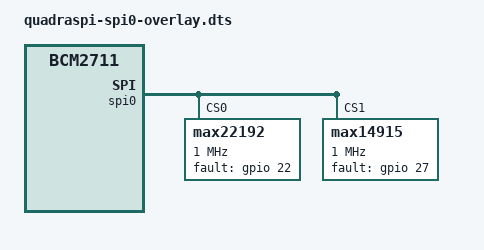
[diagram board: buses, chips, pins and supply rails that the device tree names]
// Device tree overlay for https://kws-computer.de/produkte-2/die-quadras-story/
// for details see ...

/dts-v1/;
/plugin/;


/ {
    compatible = "brcm,bcm2711";

    fragment@0 {
        target = <&spi0_cs_pins>;
        frag0: __overlay__ {
            brcm,pins = <8 7>;
            brcm,function = <1>; /* output */
        };
    };

    fragment@1 {
        target = <&gpio>;
        __overlay__ {
            max22192_pins_spi1: max22192_pins_spi1 {
                brcm,pins = <22>;
                brcm,function = <0>; /* in */
                brcm,pull = <0>; /* none */
            };

            max14915_pins_spi1: max14915_pins_spi1 {
                brcm,pins = <27>;
                brcm,function = <0>; /* in */
                brcm,pull = <0>; /* none */
            };
        };
    };

    fragment@2 {
        target = <&spi0>;
        __overlay__ {
            status = "okay";
        };
    };

    fragment@3 {
        target = <&spidev0>;
        __overlay__ {
            status = "disabled";
        };
    };

    fragment@4 {
        target = <&spidev1>;
        __overlay__ {
            status = "disabled";
        };
    };

    fragment@5 {
        target = <&spi0>;
        frag1: __overlay__ {
            #address-cells = <1>;
            #size-cells = <0>;

            pinctrl-names = "default";
            status = "okay";

            max22192: max22192@0 {
                compatible = "max22192";
                pinctrl-names = "default";
                pinctrl-0 = <&max22192_pins_spi1>;
                reg = <0>;      /* CE0 */
                spi-max-frequency = <1000000>;
                gpio-controller;
                #gpio-cells = <2>;
                // wirebreak-inputs = <1>, <2>, <3>, <4>, <5>, <6>, <7> ,<8>;

                fault-gpio = <&gpio 22 0>;
                status = "okay";

                gpio-line-names ="24V_Input_1","24V_Input_2","24V_Input_3","24V_Input_4","24V_Input_5","24V_Input_6","24V_Input_7","24V_Input_8";
            };

            max14915: max14915@1 {
                compatible = "max14915";
                pinctrl-names = "default";
                pinctrl-0 = <&max14915_pins_spi1>;
                reg = <1>;      /* CE1 */
                spi-max-frequency = <1000000>;
                gpio-controller;
                #gpio-cells = <2>;
                #device-addr = <2>;
                fault-gpio = <&gpio 27 0>;
                // wirebreak-outputs = <1>, <2>, <3>, <4>, <5>, <6>, <7> ,<8>;
                // vdd-outputs = <1>, <2>, <3>, <4>, <5>, <6>, <7> ,<8>;
                vdd-limit = <12>;
                wires_pullup = <300>;
                status = "okay";

                gpio-line-names ="24V_Output_1","24V_Output_2","24V_Output_3","24V_Output_4","24V_Output_5","24V_Output_6","24V_Output_7","24V_Output_8";
            };
        };
    };

    __overrides__ {
        cs0_pin  = <&frag0>,"brcm,pins:0",
            <&frag1>,"cs-gpios:4";
        cs1_pin  = <&frag0>,"brcm,pins:4",
            <&frag1>,"cs-gpios:16";
        cs0_spidev = <&max22192>,"status";
        cs1_spidev = <&max14915>,"status";
        speed   = <&max14915>, "spi-max-frequency:0";
    };
};
